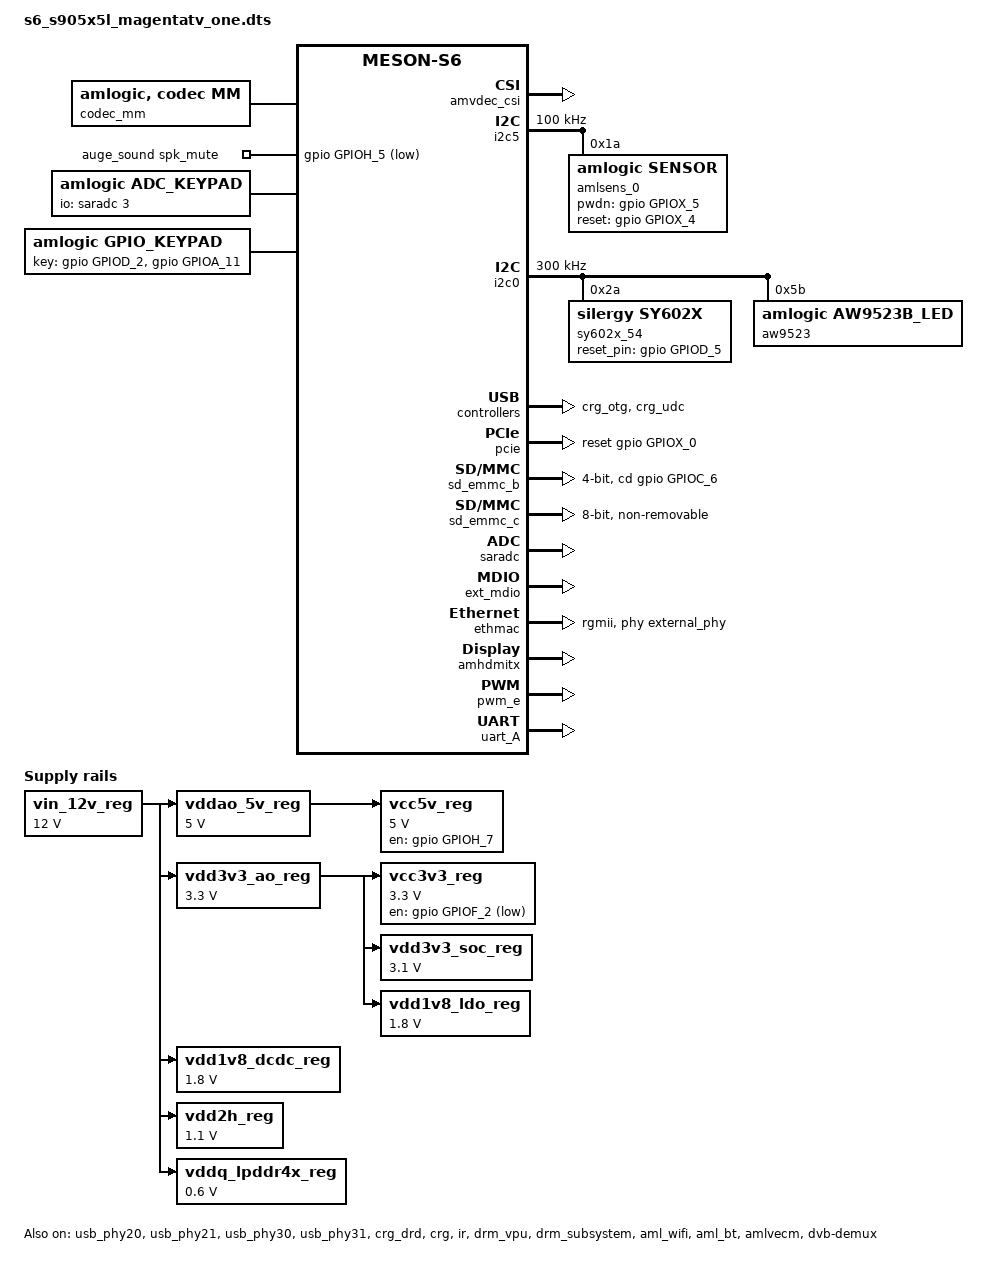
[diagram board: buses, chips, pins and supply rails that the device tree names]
// SPDX-License-Identifier: (GPL-2.0+ OR MIT)
/*
 * Copyright (c) 2019 Amlogic, Inc. All rights reserved.
 */

/dts-v1/;

#include "meson-s6.dtsi"
#include "hdr10plus.dtsi"
#include "mesons6_drm.dtsi"
#include "mesons6_audio.dtsi"
#include "firmware_ab.dtsi"
/ {
	amlogic-dt-id = "s6_s905x5l_magentatv_one-4g";
	compatible = "s6_s905x5l_magentatv_one";
	interrupt-parent = <&gic>;
	#address-cells = <2>;
	#size-cells = <2>;

	aliases {
		serial0 = &uart_B;
		serial1 = &uart_A;
		serial2 = &uart_C;
		i2c0 = &i2c0;
		i2c1 = &i2c1;
		i2c2 = &i2c2;
		i2c3 = &i2c3;
		i2c4 = &i2c4;
		i2c5 = &i2c5;
		spi0 = &spifc;
		spi1 = &spicc0;
		tsensor0 = &p_tsensor;
		tsensor1 = &c_tsensor;
	};

	memory@00000000 {
		device_type = "memory";
		linux,usable-memory = <0x0 0x000000 0x0 0xe0000000
					0x1 0x000000 0x0 0x20000000>;
	};

	reserved-memory {
		#address-cells = <2>;
		#size-cells = <2>;
		ranges;

		ramdump_bl33z@00000000 {
			reg = <0x0 0x0 0x0 0x1800000>;
			status = "disabled";
		};

		ramoops@0x06b00000 {
			compatible = "ramoops";
			reg = <0x0 0x06b00000 0x0 0x00100000>;
			record-size = <0x20000>;
			console-size = <0x40000>;
			ftrace-size = <0x80000>;
			pmsg-size = <0x10000>;
			bconsole-size = <0x10000>;
		};

		debug_reserved:linux,iotrace {
			compatible = "amlogic, iotrace";
			reg = <0x0 0x04f00000 0x0 0x00100000>;
			io-size = <0x1b000>;
			sched-size = <0x2000>;
			irq-size = <0x1000>;
			smc-size = <0x1000>;
			misc-size = <0x1000>;
		};

		dmc_reserved:linux,dmc_monitor {
			compatible = "amlogic,dmc_monitor-reserved";
			reg = <0x0 0x0 0x0 0x80000>;
		};

		mte_reserved:linux,mte {
			compatible = "shared-dma-pool";
			no-map;
			reg = <0x0 0x0c000000 0x0 0x8000000>;
		};

		secmon_reserved:linux,secmon {
			compatible = "shared-dma-pool";
			no-map;
			alignment = <0x0 0x100000>;
			reg = <0x0 0x05000000 0x0 0x1b00000>;
		};

		logo_reserved:linux,meson-fb {
			compatible = "amlogic, meson-fb";
			alignment = <0x0 0x400000>;
			reg = <0x0 0x7f800000 0x0 0x800000>;
		};

		dsp_fw_reserved:linux,dsp_fw {
			compatible = "amlogic, dsp";
			size = <0x0 0x800000>;
			reg = <0x0 0x30000000 0x0 0x800000>;
		};

		ion_cma_reserved:linux,ion-dev {
			compatible = "shared-dma-pool";
			reusable;
			size = <0x0>;
			alignment = <0x0 0x400000>;
		};
		ion_fb_reserved:linux,ion-fb {
			compatible = "shared-dma-pool";
			reusable;
			size = <0x0 0x0>;
			alignment = <0x0 0x400000>;
		};
		dmaheap_cma_reserved:heap-gfx {
			compatible = "shared-dma-pool";
			reusable;
			size = <0x0 0x5800000>;
			alignment = <0x0 0x400000>;
		};
		dmaheap_fb_reserved:heap-fb {
			compatible = "shared-dma-pool";
			reusable;
			size = <0x0 0x3800000>;
			alignment = <0x0 0x400000>;
		};
		dmaheap_secure_reserved:heap-secure {
			compatible = "amlogic, heap-secure-mem";
			no-map;
			size = <0x0 0x0>;
			alignment = <0x0 0x400000>;
		};
		mali_protected: mali_protected@c0000000 {
			compatible = "mali-reserved";
			no-map;
			size = <0x0 0x0>;
			alignment = <0x0 0x400000>;
		};
		di_cma_reserved:linux,di_cma {
			compatible = "shared-dma-pool";
			reusable;
			alignment = <0x0 0x400000>;
		};

		ppmgr_reserved:linux,ppmgr {
			compatible = "shared-dma-pool";
			size = <0x0 0x0>;
		};

		codec_mm_cma:linux,codec_mm_cma {
			compatible = "shared-dma-pool";
			reusable;
			size = <0x0 0x1bc00000>;
			alignment = <0x0 0x400000>;
			alloc-ranges = <0x0 0x0 0x0 0xe0000000>;
			linux,contiguous-region;
		};

		codec_mm_reserved:linux,codec_mm_reserved {
			compatible = "amlogic, codec-mm-reserved";
			size = <0x0 0x0>;
			alignment = <0x0 0x100000>;
		};

		codec_mm_reserved_ext:linux,codec_mm_reserved_ext {
			compatible = "amlogic, codec-mm-reserved_ext";
			size = <0x00000000 0x000c00000>;
			alignment = <0x0 0x100000>;
			alloc-ranges = <0x0 0x0 0x0 0xe0000000>;
		};

		secure_vdec_reserved:linux,secure_vdec_reserved {
			compatible = "amlogic, secure-vdec-reserved";
			no-map;
			size = <0x0 0x1000000>;
			alignment = <0x0 0x100000>;
			alloc-ranges = <0x0 0x0 0x0 0xe0000000>;
		};

		vdin1_cma_reserved:linux,vdin1_cma {
			compatible = "shared-dma-pool";
			reusable;
			size = <0x0 0x00c00000>;
			alignment = <0x0 0x400000>;
		};
		linux,cma {
			compatible = "shared-dma-pool";
			reusable;
			size = <0x0 0x800000>;
			alignment = <0x0 0x400000>;
			linux,cma-default;
			alloc-ranges = <0x0 0x0 0x0 0x30000000>;
		};

		pcie_dma_ops_mm:linux,pcie_dma_ops {
			compatible = "shared-dma-pool";
			status = "okay";
			reusable;
			size = <0x0 0x1000000>;
			alignment = <0x0 0x400000>;
			alloc-ranges = <0x0 0x0 0x0 0xe0000000>;
		};
	};

	smmu: aml_smmu {
		compatible = "amlogic,smmu";
		status = "okay";
		#iommu-cells = <1>;
		memory-region = <&pcie_dma_ops_mm>;
	};

	codec_mm {
		compatible = "amlogic, codec, mm";
		memory-region = <&codec_mm_cma &codec_mm_reserved &secure_vdec_reserved\
			&codec_mm_reserved_ext>;
		dev_name = "codec_mm";
		status = "okay";
		scatter_alloc_mode = <1>;
	};
	amdolby_vision {
		compatible = "amlogic, dolby_vision_s6";
		dev_name = "aml_amdolby_vision_driver";
		status = "ok";
		tv_mode = <0>;
	};
	auge_sound {
		compatible = "amlogic, auge-sound-card";
		spk_mute-gpios = <&gpio GPIOH_5 GPIO_ACTIVE_LOW>;
		aml-audio-card,name = "AML-AUGESOUND";
		aml-audio-card,dai-link@0 {
			format = "dsp_b";
			mclk-fs = <512>;
			bitclock-master = <&tdma>;
			frame-master = <&tdma>;
			suffix-name = "alsaPORT-pcm";
			tdmacpu: cpu {
				sound-dai = <&tdma>;
				dai-tdm-slot-tx-mask = <1>;
				dai-tdm-slot-rx-mask = <1>;
				dai-tdm-slot-num = <2>;
				dai-tdm-slot-width = <16>;
				system-clock-frequency = <256000>;
			};
			tdmacodec: codec {
				sound-dai = <&dummy_codec>;
			};
		};

		aml-audio-card,dai-link@1 {
			format = "i2s";
			mclk-fs = <256>;
			continuous-clock;
			bitclock-master = <&tdmb>;
			frame-master = <&tdmb>;
			suffix-name = "alsaPORT-i2s2hdmi";
			cpu {
				sound-dai = <&tdmb>;
				dai-tdm-slot-tx-mask = <1 1>;
				dai-tdm-slot-rx-mask = <1 1>;
				dai-tdm-slot-num = <2>;
				dai-tdm-slot-width = <32>;
				system-clock-frequency = <12288000>;
			};
			tdmbcodec: codec {
				sound-dai = <&dummy_codec>;
			};
		};

		aml-audio-card,dai-link@2 {
			format = "i2s";
			mclk-fs = <256>;
			bitclock-master = <&tdmc>;
			frame-master = <&tdmc>;
			suffix-name = "alsaPORT-i2s";
			cpu {
				sound-dai = <&tdmc>;
				dai-tdm-slot-tx-mask = <1 1>;
				dai-tdm-slot-rx-mask = <1 1>;
				dai-tdm-slot-num = <2>;
				dai-tdm-slot-width = <32>;
				system-clock-frequency = <12288000>;
			};
			tdmccodec: codec {
				prefix-names = "AMP";
				sound-dai = <&sy602x_54>;
			};
		};

		aml-audio-card,dai-link@3 {
			mclk-fs = <64>;
			suffix-name = "alsaPORT-pdm-builtinmic";
			cpu {
				sound-dai = <&pdma>;
			};
			codec {
				sound-dai = <&dummy_codec>;
			};
		};

		aml-audio-card,dai-link@4 {
			mclk-fs = <128>;
			continuous-clock;
			suffix-name = "alsaPORT-spdif";
			cpu {
				sound-dai = <&spdifa>;
				system-clock-frequency = <6144000>;
			};
			codec {
				sound-dai = <&dummy_codec>;
			};
		};
		aml-audio-card,dai-link@5 {
			mclk-fs = <128>;
			continuous-clock;
			suffix-name = "alsaPORT-spdifb";
			cpu {
				sound-dai = <&spdifb>;
				system-clock-frequency = <6144000>;
			};
			codec {
				sound-dai = <&dummy_codec>;
			};
		};

		aml-audio-card,dai-link@6 {
			mclk-fs = <256>;
			continuous-clock;
			suffix-name = "alsaPORT-loopback";
			cpu {
				sound-dai = <&loopbacka>;
				system-clock-frequency = <12288000>;
			};
			codec {
				sound-dai = <&dummy_codec>;
			};
		};
	};

	cvbsout {
		compatible = "amlogic, cvbsout-s4";
		status = "disabled";
		clk_path = <0>;
		performance_pal = <0x1bf0  0x9
			0x1b12  0x80c0
			0x1b05  0xf7
			0x1b56  0x333
			0x1c59  0xf25c
			0xffff  0x0>;
		performance = <0x1bf0  0x9
			0x1b12  0x8040
			0x1b05  0xfd
			0x1b56  0x333
			0x1c59  0xf654
			0xffff  0x0>;
		performance_ntsc = <0x1bf0  0x9
			0x1b12  0x8020
			0x1b03  0x0
			0x1b04  0x0
			0x1b05  0x0
			0x1b06  0x0
			0x1b56  0x333
			0x1c59  0xf850
			0xffff  0x0>;
	};

	dvb-extern {
		compatible = "amlogic, dvb-extern";
		dev_name = "dvb-extern";
		status = "disabled";
		dvb_power_gpio = <&gpio GPIOZ_5 GPIO_ACTIVE_HIGH>;
		dvb_power_value = <1>;
		dvb_power_dir = <0>;
		fe_num = <4>;
		fe0_demod = "internal";
		fe0_tuner0 = <0>;
		fe1_demod = "internal";
		fe1_tuner0 = <1>;
		fe2_demod = "cxd2856";
		fe2_i2c_adap_id = <&i2c4>;
		fe2_demod_i2c_addr = <0xD8>;
		fe2_reset_value = <0>;
		fe2_reset_gpio = <&gpio GPIOZ_4 GPIO_ACTIVE_HIGH>;
		fe2_reset_dir = <0>;
		fe2_ant_poweron_value = <0>;
		fe2_ts = <0>;
		fe2_tuner1 = <3>;
		fe3_demod = "dummy";
		fe3_ts = <3>;
		tuner_num = <4>;
		tuner0_name = "r836_tuner";
		tuner0_i2c_adap = <&i2c3>;
		tuner0_i2c_addr = <0x1a>;
		tuner0_xtal = <0>;
		tuner0_xtal_mode = <0>;
		tuner0_xtal_cap = <16>;
		tuner0_lt_out = <1>;
		tuner1_name = "r836_tuner";
		tuner1_i2c_adap = <&i2c3>;
		tuner1_i2c_addr = <0x3a>;
		tuner1_xtal = <0>;
		tuner1_xtal_mode = <0>;
		tuner1_xtal_cap = <16>;
		tuner1_lt_out = <1>;
		tuner2_name = "av2018_tuner";
		tuner2_i2c_adap = <&i2c3>;
		tuner2_i2c_addr = <0xC4>;
		tuner2_lt_out = <1>;
		tuner3_name = "av2018_tuner";
		tuner3_lt_out = <1>;
	};

	dvb-demux {
		compatible = "amlogic sc2, dvb-demux";
		dev_name = "dvb-demux";
		status = "okay";
		reg = <0x0 0xfe000000 0x0 0x480000>;
		dmxdev_num = <0x11>;
		tsn_from = "demod";
		ts0_sid = <0x10>;
		ts0 = "serial-4wire";
		ts0_control = <0x0>;
		ts0_invert = <0>;
		ts1_sid = <0x11>;
		ts1 = "parallel";
		ts1_control = <0x0>;
		ts1_invert = <0>;
		ts2_sid = <0x12>;
		ts2 = "parallel";
		ts2_control = <0x0>;
		ts2_invert = <0>;
		ts3_sid = <0x7>;
	};

	ionvideo {
		compatible = "amlogic, ionvideo";
		dev_name = "ionvideo";
		status = "disabled";
	};

	amlvideo2_0 {
		compatible = "amlogic, amlvideo2";
		dev_name = "amlvideo2";
		status = "okay";
		amlvideo2_id = <0>;
		cma_mode = <1>;
	};

	amlvideo2_1 {
		compatible = "amlogic, amlvideo2";
		dev_name = "amlvideo2";
		status = "okay";
		amlvideo2_id = <1>;
		cma_mode = <1>;
	};

	amvdec_csi {
		compatible = "amlogic, amvdec_csi-s6";
		status = "okay";
		csi_id = <0>;
		squlech_mode = <1>;
		deskew_mode = <0>;
		reg = <0x0 0xfe014000 0x0 0x00000100>,
			<0x0 0xfe016000 0x0 0x00000100>,
			<0x0 0xfe018000 0x0 0x00000100>;
		reg-names = "csi_phy", "csi_host", "csi_adapt";
		clocks = <&clkc CLKID_CSI2_ADAPT>,
			<&clkc CLKID_MIPI_CSI_PHY_0>;
		clock-names = "cts_csi_adapt_clk_composite",
			"cts_csi_phy_clk_composite";
		power-domains = <&pwrdm PDID_S6_ADAPT>;
		interrupts = <GIC_SPI 88 IRQ_TYPE_EDGE_RISING>;
		interrupt-names = "csi_phy";
	};

	ppmgr {
		compatible = "amlogic, ppmgr";
		memory-region = <&ppmgr_reserved>;
		dev_name = "ppmgr";
		status = "disabled";
	};

	thermal-zones {
		pll_thermal: pll_thermal {
			polling-delay = <1000>;
			polling-delay-passive = <100>;
			sustainable-power = <1160>;
			thermal-sensors = <&p_tsensor 0>;
			trips {
				pswitch_on: trip-point@0 {
					temperature = <85000>;
					hysteresis = <5000>;
					type = "passive";
				};
				pcontrol: trip-point@1 {
					temperature = <95000>;
					hysteresis = <5000>;
					type = "passive";
				};
				pcritical: trip-point@2 {
					temperature = <105000>;
					hysteresis = <1000>;
					type = "critical";
				};
			};
		};
		soc_thermal: soc_thermal {
			polling-delay = <1000>;
			polling-delay-passive = <100>;
			sustainable-power = <1160>;
			thermal-sensors = <&c_tsensor 1>;
			trips {
				cswitch_on: trip-point@0 {
					temperature = <85000>;
					hysteresis = <5000>;
					type = "passive";
				};
				control: trip-point@1 {
					temperature = <95000>;
					hysteresis = <5000>;
					type = "passive";
				};
				ccritical: trip-point@2 {
					temperature = <105000>;
					hysteresis = <1000>;
					type = "critical";
				};
			};
			cooling-maps {
				cpufreq_cooling_map {
					trip = <&control>;
					cooling-device = <&CPU0 0 6>;
					contribution = <1024>;
				};
				gpufreq_cooling_map {
					trip = <&control>;
					cooling-device = <&gpu 0 3>;
					contribution = <1024>;
				};
			};
		};
	};

	multi-di {
		compatible = "amlogic, dim-s7d";
		status = "okay";
		flag_cma = <4>;
		interrupts = <0 203 4
				0 202 4>;
		interrupt-names = "pre_irq", "post_irq";
		clocks = <&clkc CLKID_VPU_CLKB>,
			<&clkc CLKID_VPU>;
		clock-names = "vpu_clkb",
			"vpu_mux";
		clock-range = <334 667>;
		buffer-size = <4074560>;
		post-wr-support = <1>;
		nr10bit-support = <1>;
		nrds-enable = <1>;
		pps-enable = <1>;
		post_nub = <10>;
	};

	aml_dtv_demod {
		compatible = "amlogic, ddemod-s4";
		dev_name = "aml_dtv_demod";
		status = "disabled";
		pinctrl-names="if_agc_pins", "if_agc2_pins";
		pinctrl-0=<&dtvdemod_if_agc_pins>;
		pinctrl-1=<&dtvdemod_if_agc2_pins>;
		reg = <0x0 0xfe350000 0x0 0x10000
			   0x0 0xfe000000 0x0 0x2000
			   0x0 0xff800000 0x0 0x1000
			   0x0 0xffd01000 0x0 0x1000
			>;
		spectrum = <1>;
		cma_mem_size = <0>;
	};

	provisionkey {
		compatible = "amlogic, provisionkey";
		status = "disabled";
		key-permit-default = "write";
		KEY_PROVISION_XXX { };
	};

	unifykey{
		compatible = "amlogic,unifykey";
		status = "okay";
		unifykey-num = <19>;
		unifykey-index-0 = <&keysn_0>;
		unifykey-index-1 = <&keysn_1>;
		unifykey-index-2 = <&keysn_2>;
		unifykey-index-3 = <&keysn_3>;
		unifykey-index-4 = <&keysn_4>;
		unifykey-index-5 = <&keysn_5>;
		unifykey-index-6 = <&keysn_6>;
		unifykey-index-7 = <&keysn_7>;
		unifykey-index-8 = <&keysn_8>;
		unifykey-index-9 = <&keysn_9>;
		unifykey-index-10= <&keysn_10>;
		unifykey-index-11= <&keysn_11>;
		unifykey-index-12= <&keysn_12>;
		unifykey-index-13= <&keysn_13>;
		unifykey-index-14= <&keysn_14>;
		unifykey-index-15= <&keysn_15>;
		unifykey-index-16= <&keysn_16>;
		unifykey-index-17= <&keysn_17>;
		unifykey-index-18= <&keysn_18>;

		keysn_0: key_0{
			key-name = "usid";
			key-device = "normal";
			key-permit = "read","write","del";
		};
		keysn_1:key_1{
			key-name = "mac";
			key-device = "normal";
			key-permit = "read","write","del";
		};
		keysn_2:key_2{
			key-name = "hdcp";
			key-device = "secure";
			key-type = "sha1";
			key-permit = "read","write","del";
		};
		keysn_3:key_3{
			key-name = "secure_boot_set";
			key-device = "efuse";
			key-permit = "write";
		};
		keysn_4:key_4{
			key-name = "mac_bt";
			key-device = "normal";
			key-permit = "read","write","del";
			key-type  = "mac";
		};
		keysn_5:key_5{
			key-name = "mac_wifi";
			key-device = "normal";
			key-permit = "read","write","del";
			key-type = "mac";
		};
		keysn_6:key_6{
			key-name = "hdcp2_tx";
			key-device = "normal";
			key-permit = "read","write","del";
		};
		keysn_7:key_7{
			key-name = "hdcp2_rx";
			key-device = "normal";
			key-permit = "read","write","del";
		};
		keysn_8:key_8{
			key-name = "widevinekeybox";
			key-device = "secure";
			key-permit = "read","write","del";
		};
		keysn_9:key_9{
			key-name = "deviceid";
			key-device = "normal";
			key-permit = "read","write","del";
		};
		keysn_10:key_10{
			key-name = "hdcp22_fw_private";
			key-device = "secure";
			key-permit = "read","write","del";
		};
		keysn_11:key_11{
			key-name = "PlayReadykeybox25";
			key-device = "secure";
			key-permit = "read","write","del";
		};
		keysn_12:key_12{
			key-name = "prpubkeybox";
			key-device = "secure";
			key-permit = "read","write","del";
		};
		keysn_13:key_13{
			key-name = "prprivkeybox";
			key-device = "secure";
			key-permit = "read","write","del";
		};
		keysn_14:key_14{
			key-name = "attestationkeybox";
			key-device = "secure";
			key-permit = "read","write","del";
		};
		keysn_15:key_15{
			key-name = "region_code";
			key-device = "normal";
			key-permit = "read","write","del";
		};
		keysn_16:key_16{
			key-name = "netflix_mgkid";
			key-device = "secure";
			key-permit = "read","write","del";
		};
		keysn_17:key_17{
			key-name = "attestationdevidbox";
			key-device = "secure";
			key-permit = "read","write","del";
		};
		keysn_18:key_18{
			key-name = "oemkey";
			key-device = "normal";
			key-permit = "read","write","del";
		};
	};

	efusekey:efusekey{
		keynum = <4>;
		key0 = <&key_0>;
		key1 = <&key_1>;
		key2 = <&key_2>;
		key3 = <&key_3>;
		key_0:key_0{
			keyname = "mac";
			offset = <0>;
			size = <6>;
		};
		key_1:key_1{
			keyname = "mac_bt";
			offset = <6>;
			size = <6>;
		};
		key_2:key_2{
			keyname = "mac_wifi";
			offset = <12>;
			size = <6>;
		};
		key_3:key_3{
			keyname = "usid";
			offset = <18>;
			size = <16>;
		};
	};

	picdec {
		compatible = "amlogic, picdec";
		status = "disabled";
	};

	adc_keypad {
		compatible = "amlogic, adc_keypad";
		status = "okay";
		key_name = "vol-", "vol+", "power";
		key_num = <3>;
		io-channels = <&saradc 3>;
		io-channel-names = "key-chan-3";
		key_chan = <SARADC_CH3 SARADC_CH3 SARADC_CH3>;
		key_code = <KEY_VOLUMEDOWN KEY_VOLUMEUP KEY_POWER>;
		key_val = <1600 1050 50>;
		key_tolerance = <70 70 70>;
	};

	gpio_keypad {
		compatible = "amlogic, gpio_keypad";
		status = "okay";
		scan_period = <20>;
		key_num = <2>;
		key_name = "bluetooth", "mute";
		key_code = <600 SW_MUTE_DEVICE>;
		key_type = <EV_KEY EV_SW>;
		key-gpios = <&gpio GPIOD_2 GPIO_ACTIVE_HIGH
			     &gpio GPIOA_11 GPIO_ACTIVE_HIGH>;
		detect_mode = <0>;
	};

	vin_12v_reg: fixed@vin_12v_reg {
		compatible = "regulator-fixed";
		regulator-name = "DC_IN";
		regulator-min-microvolt = <12000000>;
		regulator-max-microvolt = <12000000>;
		regulator-boot-on;
		regulator-always-on;
	};

	vddao_5v_reg: fixed@vddao_5v_reg {
		vin-supply = <&vin_12v_reg>;
		compatible = "regulator-fixed";
		regulator-name = "VDDAO_5V";
		regulator-min-microvolt = <5000000>;
		regulator-max-microvolt = <5000000>;
		regulator-boot-on;
		regulator-always-on;
	};

	vdd3v3_ao_reg: fixed@vdd3v3_ao_reg {
		vin-supply = <&vin_12v_reg>;
		compatible = "regulator-fixed";
		regulator-name = "VDDAO_3.3V";
		regulator-min-microvolt = <3300000>;
		regulator-max-microvolt = <3300000>;
		regulator-boot-on;
		regulator-always-on;
	};

	vdd1v8_dcdc_reg: fixed@vdd1v8_dcdc_reg {
		compatible = "regulator-fixed";
		vin-supply = <&vin_12v_reg>;
		regulator-name = "VDD1V8_DCDC";
		regulator-min-microvolt = <1800000>;
		regulator-max-microvolt = <1800000>;
		regulator-boot-on;
		regulator-always-on;
	};

	vdd2h_reg: fixed@vdd2h_reg {
		vin-supply = <&vin_12v_reg>;
		compatible = "regulator-fixed";
		regulator-name = "VDD2H";
		regulator-min-microvolt = <1100000>;
		regulator-max-microvolt = <1100000>;
		regulator-boot-on;
		regulator-always-on;
	};

	vddq_lpddr4x_reg: fixed@vddq_lpddr4x_reg {
		compatible = "regulator-fixed";
		vin-supply = <&vin_12v_reg>;
		regulator-name = "VDDQ_LPDDR4X";
		regulator-min-microvolt = <600000>;
		regulator-max-microvolt = <600000>;
		regulator-boot-on;
		regulator-always-on;
	};

	vcc5v_reg: fixed@vcc5v_reg {
		vin-supply = <&vddao_5v_reg>;
		compatible = "regulator-fixed";
		regulator-name = "VCC5V";
		regulator-min-microvolt = <5000000>;
		regulator-max-microvolt = <5000000>;
		pinctrl-names = "default";
		gpio = <&gpio GPIOH_7 GPIO_ACTIVE_HIGH>;
		enable-active-high;
		startup-delay-us = <7000>;
		regulator-boot-on;
		regulator-always-on;
	};

	vcc3v3_reg: fixed@vcc3v3_reg {
		vin-supply = <&vdd3v3_ao_reg>;
		compatible = "regulator-fixed";
		regulator-name = "VCC3V3";
		regulator-min-microvolt = <3300000>;
		regulator-max-microvolt = <3300000>;
		pinctrl-names = "default";
		gpio = <&gpio GPIOF_2 GPIO_ACTIVE_HIGH>;
		startup-delay-us = <7000>;
		regulator-boot-on;
		regulator-always-on;
	};

	vdd3v3_soc_reg: fixed@vdd3v3_soc_reg {
		vin-supply = <&vdd3v3_ao_reg>;
		compatible = "regulator-fixed";
		regulator-name = "VDDIO_SOC";
		regulator-min-microvolt = <3100000>;
		regulator-max-microvolt = <3100000>;
		regulator-boot-on;
		regulator-always-on;
	};

	vdd1v8_ldo_reg: fixed@vdd1v8_ldo_reg {
		compatible = "regulator-fixed";
		vin-supply = <&vdd3v3_ao_reg>;
		regulator-name = "VDD1V8_LDO";
		regulator-min-microvolt = <1800000>;
		regulator-max-microvolt = <1800000>;
		regulator-boot-on;
		regulator-always-on;
	};
};

&i2c3 {
	status = "disabled";
	pinctrl-names="default";
	pinctrl-0=<&i2c3_pins2>;
	clock-frequency = <300000>;
};

&i2c4 {
	status = "disabled";
	pinctrl-names="default";
	pinctrl-0=<&i2c4_pins3>;
	clock-frequency = <300000>;
};

&i2c5 {
	status = "okay";
	pinctrl-names="default";
	pinctrl-0=<&i2c5_pins3>;
	clock-frequency = <100000>;

	amlsens_0: sensor0@1a {
		compatible = "amlogic, sensor";
		index = <1>;
		reg = <0x1a>;
		reg-addr-type = <2>;
		reg-data-type = <1>;
		clocks = <&clkc CLKID_MCLK0>;
		clock-names = "mclk0";
		pwdn-gpios = <&gpio GPIOX_5 GPIO_ACTIVE_HIGH>;
		reset-gpios = <&gpio GPIOX_4 GPIO_ACTIVE_HIGH>;

		port {
			amlsens_0_ep: endpoint {
				data-lanes = <0 1 2 3>;
				link-frequencies = /bits/ 64 <222750000>;
			};
		};
	};
};

&i2c0 {
	status = "okay";
	pinctrl-names="default";
	pinctrl-0=<&i2c0_pins4>;
	clock-frequency = <300000>;
	sy602x_54: sy602x_54@2a {
		compatible = "silergy,sy602x";
		#sound-dai-cells = <0>;
		reg = <0x2a>;
		status = "okay";
		reset_pin-gpios = <&gpio GPIOD_5 GPIO_ACTIVE_HIGH>;
	};
	aw9523: aw9523_led@5b {
		compatible = "amlogic,aw9523b_led";
		reg = <0x5b>;
		status = "okay";
		platform = <10>;

		led1 {
			default_colors = <0 0 0>;
			r_io_number = <2>;
			g_io_number = <12>;
			b_io_number = <7>;
		};

		led2 {
			default_colors = <0 0 0>;
			r_io_number = <4>;
			g_io_number = <10>;
			b_io_number = <9>;
		};

		led3 {
			default_colors = <0 0 0>;
			r_io_number = <3>;
			g_io_number = <11>;
			b_io_number = <8>;
		};

		led4 {
			default_colors = <0 0 0>;
			r_io_number = <0>;
			g_io_number = <14>;
			b_io_number = <5>;
		};
		led9 {
			default_colors = <0 0 0>;
			r_io_number = <1>;
			g_io_number = <13>;
			b_io_number = <6>;
		};
	};
};

&vddcpu0_board2 {
	status = "okay";
};

&CPU0 {
	#cooling-cells = <2>;
	operating-points-v2 = <&cpu_opp_table0>,
						<&cpu_opp_table1_2000>,
						<&cpu_opp_table2_2000>,
						<&cpu_opp_table3_2000>;
};

&tdma {
	pinctrl-names = "tdm_pins";
	pinctrl-0 = <&bt_pcm_gpio_x_pins
		&tdm_d1_pins
		&tdm_d0_pins
		&tdma_clk_pins>;
};

&tdmc {
	pinctrl-names = "tdm_pins";
	pinctrl-0 = <&i2s_gpio_d_pins_1
		&tdm_d3_pins
		&tdmc_clk_pins>;
};

&spdifa {
		pinctrl-names = "spdif_pins", "spdif_pins_mute";
		pinctrl-0 = <&spdif_out_a_h4_pins>;
		pinctrl-1 = <&spdif_out_a_h4_mute_pins>;
};

&periphs_pinctrl {
	dvb_s_ts0_pins: dvb_s_ts0_pins {
		tsin_a {
			groups = "tsin_a_sop",
				"tsin_a_valid",
				"tsin_a_clk",
				"tsin_a_din0";
			function = "tsin_a";
		};
	};
};

&usb_phy20 {
	status = "okay";
	portnum = <1>;
};

&usb_phy21 {
	status = "okay";
	portnum = <1>;
	gpio-vbus-power = "GPIOH_8";
	gpios = <&gpio GPIOH_8 (GPIO_ACTIVE_HIGH|GPIO_OPEN_DRAIN)>;
};

&usb_phy30 {
	status = "okay";
	portnum = /bits/ 8 <0x00>;
};

&usb_phy31 {
	status = "okay";
	portnum = /bits/ 8 <0x01>;
};

&crg_otg {
	status = "okay";
	controller-type = <1>;
};

&crg_drd {
	status = "okay";
};

&crg_udc {
	status = "okay";
};

&crg {
	status = "okay";
};

&pcie {
	reset-gpio = <&gpio GPIOX_0 GPIO_ACTIVE_HIGH>;
	max-link-speed=<1>;
	iommu-map = <0x100 &smmu 0x5 0x10>;
	status = "okay";
};

&sd_emmc_a {
	status = "disabled";
	pinctrl-0 = <&sdio_pins>;
	pinctrl-1 = <&sdio_clk_gate_pins>;
	pinctrl-names = "default", "clk-gate";
	#address-cells = <1>;
	#size-cells = <0>;
	bus-width = <4>;
	cap-sd-highspeed;
	sd-uhs-sdr50;
	sd-uhs-sdr104;
	max-frequency = <200000000>;
	non-removable;
	disable-wp;
	brcmf: wifi@1 {
		reg = <1>;
		compatible = "brcm,bcm4329-fmac";
	};
};

&sd_emmc_b {
	status = "okay";
	pinctrl-0 = <&sdcard_pins>;
	pinctrl-1 = <&sdcard_clk_gate_pins>;
	pinctrl-2 = <&sd_1bit_pins>;
	pinctrl-names = "sd_default",
			"clk-gate",
			"sd_1bit_pins";
	bus-width = <4>;
	cap-sd-highspeed;
	max-frequency = <200000000>;
	disable-wp;
	cd-gpios = <&gpio GPIOC_6 GPIO_ACTIVE_HIGH>;
};

&sd_emmc_c {
	status = "okay";
	pinctrl-0 = <&emmc_pins>, <&emmc_ds_pins>;
	pinctrl-1 = <&emmc_clk_gate_pins>;
	pinctrl-names = "default", "clk-gate";
	bus-width = <8>;
	cap-mmc-highspeed;
	mmc-hs200-1_8v;
	mmc-hs400-1_8v;
	max-frequency = <200000000>;
	non-removable;
	disable-wp;
};

&mtd_nand {
	status = "disabled";
	#address-cells = <1>;
	#size-cells = <0>;
	pinctrl-names = "nand_norb_mod","nand_cs_only";
	pinctrl-0 = <&all_nand_pins>;
	pinctrl-1 = <&nand_cs_pins>;
	bl_mode = <1>;
	fip_copies = <4>;
	fip_size = <0x200000>;
	ship_bad_block = <1>;
	disa_irq_flag = <1>;
	nand@bootloader {
		reg = <0>;
		#address-cells = <1>;
		#size-cells = <1>;
		nand-ecc-maximize;
		partition@0 {
			label = "bootloader";
			reg = <0x0 0x00000000>;
		};
	};
	nand@normal {
		reg = <0>;
		#address-cells = <1>;
		#size-cells = <1>;
		nand-ecc-maximize;
		partition@0 {
			label = "bl2e";
			reg = <0x0 0x00000000>;
		};
		partition@1 {
			label = "bl2x";
			reg = <0x0 0x00000000>;
		};
		partition@2 {
			label = "ddrfip";
			reg = <0x0 0x00000000>;
		};
		partition@3 {
			label = "tpl";
			reg = <0x0 0x00000000>;
		};
		partition@4 {
			label = "factory";
			reg = <0x0 0x0800000>;
		};
		partition@5 {
			label = "tee";
			reg = <0x0 0x800000>;
		};
		partition@6 {
			label = "logo";
			reg = <0x0 0x200000>;
		};
		partition@7 {
			label = "misc";
			reg = <0x0 0x800000>;
		};
		partition@8 {
			label = "recovery";
			reg = <0x0 0x2000000>;
		};
		partition@9 {
			label = "boot";
			reg = <0x0 0x2200000>;
		};
		partition@10 {
			label = "system";
			reg = <0x0 0xE000000>;
		};
		partition@11 {
			label = "vendor";
			reg = <0x0 0x1000000>;
		};
		partition@12 {
			label = "vbmeta";
			reg = <0x0 0x0100000>;
		};
		partition@13 {
			label = "data";
			reg = <0x0 0xffffffff>;
		};
	};
};

&saradc {
	status = "okay";
};

&ext_mdio {
	status = "okay";
};

&ethmac {
	pinctrl-0 = <&eth_pins>, <&eth_rgmii_pins>;
	pinctrl-names = "default";
	status = "okay";
	phy-mode = "rgmii";
	phy-handle = <&external_phy>;
	amlogic,tx-delay-ns = <2>;
	internal_phy = <2>;
	cali_val = <0x290000>;
	wol = <1>;
	mdns_wkup = <1>;
};

&ir {
	status = "okay";
	pinctrl-0 = <&remote_pins>;
	pinctrl-names = "default";
};

&spicc0 {
	status = "disabled";
	pinctrl-names = "default";
	pinctrl-0 = <&spicc0_pins_x>;
};

&spifc {
	status = "disabled";
	spi-nor@0 {
		status = "disabled";
	};
};

&fb {
	status = "disabled";
	display_size_default = <1920 1080 1920 2160 32>;
	mem_size = <0x00800000 0x1980000 0x100000 0x100000>;
	logo_addr = "0x7f800000";
	mem_alloc = <0>;
	pxp_mode = <0>;
};

&drm_vpu {
	status = "okay";
	logo_addr = "0x7f800000";
};

&drm_subsystem {
	status = "okay";
	fbdev_sizes = <1280 720 1280 1440 32>;
};

&amhdmitx {
	status = "okay";
};

&drm_amhdmitx {
	status = "disabled";
	hdcp = "disabled";
};

&drm_amcvbsout {
	status = "disabled";
};

&vdin0 {
	cma_size = <20>;
	tv_bit_mode = <0x1>;
};

&vdin1 {
	memory-region = <&vdin1_cma_reserved>;
	frame_buff_num = <4>;
	tv_bit_mode = <1>;
};

&aml_wifi{
	status = "okay";
	interrupt-gpios = <&gpio  GPIOX_7  GPIO_ACTIVE_HIGH>;
	power_on-gpios = <&gpio   GPIOX_6  GPIO_ACTIVE_HIGH>;
};

&aml_bt {
	status = "okay";
	reset-gpios = <&gpio    GPIOX_17 GPIO_ACTIVE_HIGH>;
	btwakeup-gpios = <&gpio    GPIOX_18 GPIO_ACTIVE_HIGH>;
	hostwake-gpios = <&gpio GPIOX_19 GPIO_ACTIVE_HIGH>;
};

&pwm_e {
	pinctrl-0 = <&pwm_e_pins1>;
	pinctrl-names = "default";
	status = "okay";
};

&uart_A {
	status = "okay";
	uart-has-rtscts;
};

&cma_shrinker {
	free = <7680 24288 28528 32600 32768 36624>;
};

&amlogic_codec {
	tocodec_inout = <1>;
	tdmout_index = <1>;
};

&pdma {
	pinctrl-names = "pdm_pins";
	pinctrl-0 = <&pdmin>;
};

&amlvecm {
	compatible = "amlogic, vecm-s6";
	dev_name = "aml_vecm";
	status = "okay";
	gamma_en = <0>;
	wb_en = <0>;
	tx_op_color_primary = <0>;
};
